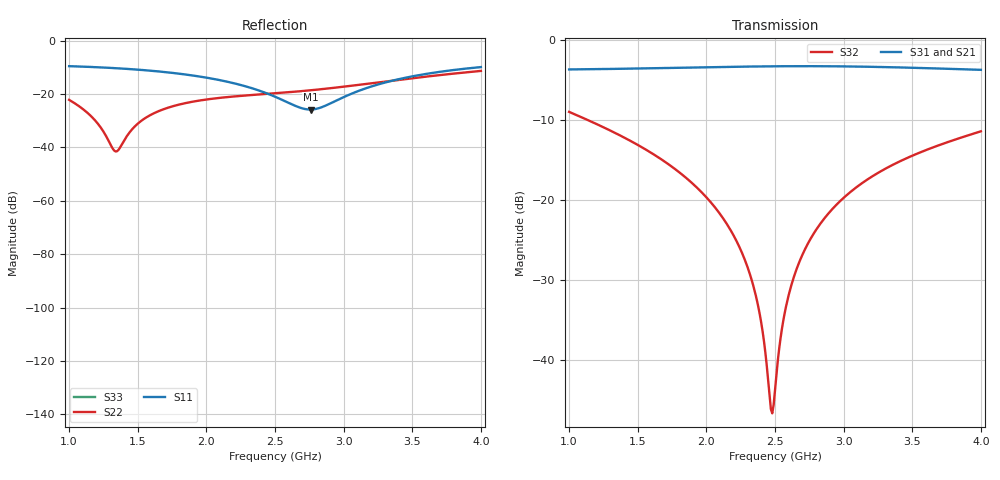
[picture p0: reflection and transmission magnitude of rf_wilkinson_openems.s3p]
! kicad2ems openEMS FDTD (rf_wilkinson); not computed (written as 0): S(P3,P3)
! ports: 1=P1, 2=P2, 3=P3
# Hz S RI R 50
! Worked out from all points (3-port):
!   301 points, 1 GHz to 4 GHz, reference 50 ohm
!   strongest paths, dB at 1 GHz, 1.75 GHz, 2.5 GHz, 3.25 GHz, 4 GHz:
!     S31: -3.7, -3.5, -3.3, -3.4, -3.8
!     S21: -3.7, -3.5, -3.3, -3.4, -3.8
!     S32: -9.0, -15.9, -43.7, -16.6, -11.4
!   lowest |S11| = -25.9 dB at 2.76 GHz (marker M1), VSWR 1.11, Z = 53.3 - j4.13 ohm
!   |S11| at or under -10 dB: 1.201 GHz to 3.991 GHz (2.79 GHz wide, 107 % of centre)
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1e9  -0.2338 0.2338  0.2403 -0.6066  0.2391 -0.6064
     0.2391 -0.6064  0.036 0.0685  -0.0625 -0.3489
     0.2391 -0.6064  -0.0625 -0.3489  0 0
1.34e9  -0.1371 0.2704  -0.0209 -0.6583  -0.0215 -0.6569
        -0.0216 -0.6569  0.00593 -0.00587  -0.1537 -0.2106
        -0.0215 -0.6569  -0.1537 -0.2106  0 0
1.62e9  -0.0483 0.2639  -0.2418 -0.6196  -0.2411 -0.6179
        -0.2412 -0.6179  -0.0351 -0.0261  -0.1607 -0.1043
        -0.2411 -0.6179  -0.1607 -0.1043  0 0
2.16e9  0.0789 0.1477  -0.5849 -0.3422  -0.583 -0.3429
        -0.583 -0.3428  -0.0871 -0.00901  -0.0677 0.0105
        -0.583 -0.3429  -0.0677 0.0105  0 0
2.36e9  0.0896 0.0816  -0.6549 -0.1863  -0.6537 -0.1879
        -0.6537 -0.1878  -0.0965 0.000742  -0.022 0.0127
        -0.6537 -0.1879  -0.022 0.0127  0 0
2.47e9  0.0844 0.0448  -0.6756 -0.0935  -0.675 -0.0954
        -0.6749 -0.0953  -0.1011 0.0055  0.000632 0.00493
        -0.675 -0.0954  0.000632 0.00493  0 0
2.5e9  0.0815 0.035  -0.6789 -0.0677  -0.6784 -0.0696
       -0.6784 -0.0695  -0.1024 0.00673  0.00627 0.0018
       -0.6784 -0.0696  0.00627 0.0018  0 0
2.59e9  0.0694 0.00686  -0.6826 0.0104  -0.6827 0.00842
        -0.6826 0.00853  -0.1065 0.0104  0.0214 -0.00991
        -0.6827 0.00842  0.0214 -0.00991  0 0
2.76e9  0.0332 -0.0387  -0.6641 0.157  -0.6652 0.1555
        -0.6651 0.1556  -0.1156 0.0178  0.0414 -0.0398
        -0.6652 0.1555  0.0414 -0.0398  0 0
4e9  -0.2795 0.1512  0.1435 0.6306  0.1461 0.6315
     0.1462 0.6314  -0.1229 0.2398  -0.184 -0.1951
     0.1461 0.6315  -0.184 -0.1951  0 0
